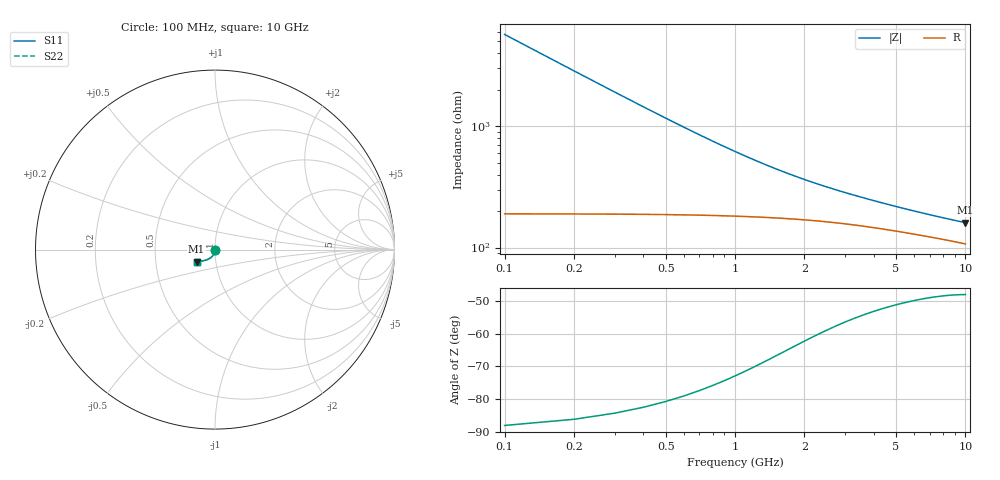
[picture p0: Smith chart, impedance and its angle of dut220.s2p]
! Touchstone file exported from HFSS 2024.1.0
!  File:  C:/UserFiles/LocalFiles/RDL_TSV_Batchsim/temp_TSV1_220_1778758374.aedt
!  Generated:  07:37:50 PM May 14, 2026
!  Design:  TSV1
!  Project:  temp_TSV1_220_1778758374
!  Setup:  Setup1
!  Solution:  Sweep
! Variables:
!  dtsv = 23.49um
!  hbump = 3um
!  htsv = 98.89um
!  lrdl = 252.1521522um
!  p = 40
!  p1 = 58.26um
!  t = 500um
!  trdl = 3um
!  wrdl = 24.89489489um
# GHz S MA R 50.000000
! Terminal data exported
! Port[1] = TSV22_T1
! Port[2] = TSV22_T2
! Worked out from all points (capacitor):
!   100 points, 100 MHz to 10 GHz, reference 50 ohm
!   read as one part in shunt: C = 279 fF near 100 MHz
!   lowest |Z| = 160 ohm at 10 GHz (marker M1)
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0.1  0.004031 -91.1  0.9998 -0.3  0.9998 -0.3  0.004031 -91.1
! Gamma 0 0 0 0
! Port Impedance 50 0 50 0
0.2  0.008038 -93.9  0.9993 -0.5  0.9993 -0.5  0.008038 -93.9
0.3  0.012 -96.2  0.9985 -0.8  0.9985 -0.8  0.012 -96.2
0.4  0.01589 -98.5  0.9974 -1.1  0.9974 -1.1  0.01589 -98.5
0.5  0.01969 -100.6  0.9961 -1.3  0.9961 -1.3  0.01969 -100.6
0.6  0.02339 -102.7  0.9946 -1.5  0.9946 -1.5  0.02339 -102.7
0.7  0.02697 -104.6  0.993 -1.8  0.993 -1.8  0.02697 -104.6
0.8  0.03042 -106.5  0.9912 -2.0  0.9912 -2.0  0.03042 -106.5
0.9  0.03373 -108.4  0.9893 -2.2  0.9893 -2.2  0.03373 -108.4
1.1  0.03993 -111.8  0.9852 -2.5  0.9852 -2.5  0.03993 -111.8
1.4  0.04818 -116.3  0.979 -3.0  0.979 -3.0  0.04818 -116.3
1.6  0.05302 -118.9  0.9749 -3.3  0.9749 -3.3  0.05302 -118.9
1.8  0.0574 -121.3  0.971 -3.5  0.971 -3.5  0.0574 -121.3
2.1  0.06322 -124.3  0.9654 -3.8  0.9654 -3.8  0.06322 -124.3
2.5  0.06985 -127.7  0.9587 -4.1  0.9587 -4.1  0.06985 -127.7
2.9  0.07552 -130.3  0.9527 -4.4  0.9527 -4.4  0.07552 -130.3
3.4  0.0816 -133.0  0.9461 -4.8  0.9461 -4.8  0.0816 -133.0
4.2  0.08975 -136.3  0.9373 -5.2  0.9373 -5.2  0.08975 -136.3
5.1  0.09729 -139.1  0.9291 -5.7  0.9291 -5.7  0.09729 -139.1
6.7  0.1079 -142.6  0.9175 -6.4  0.9175 -6.4  0.1079 -142.6
8.4  0.1165 -145.2  0.9083 -7.1  0.9083 -7.1  0.1165 -145.2
10  0.1229 -146.9  0.9015 -7.7  0.9015 -7.7  0.1229 -146.9
